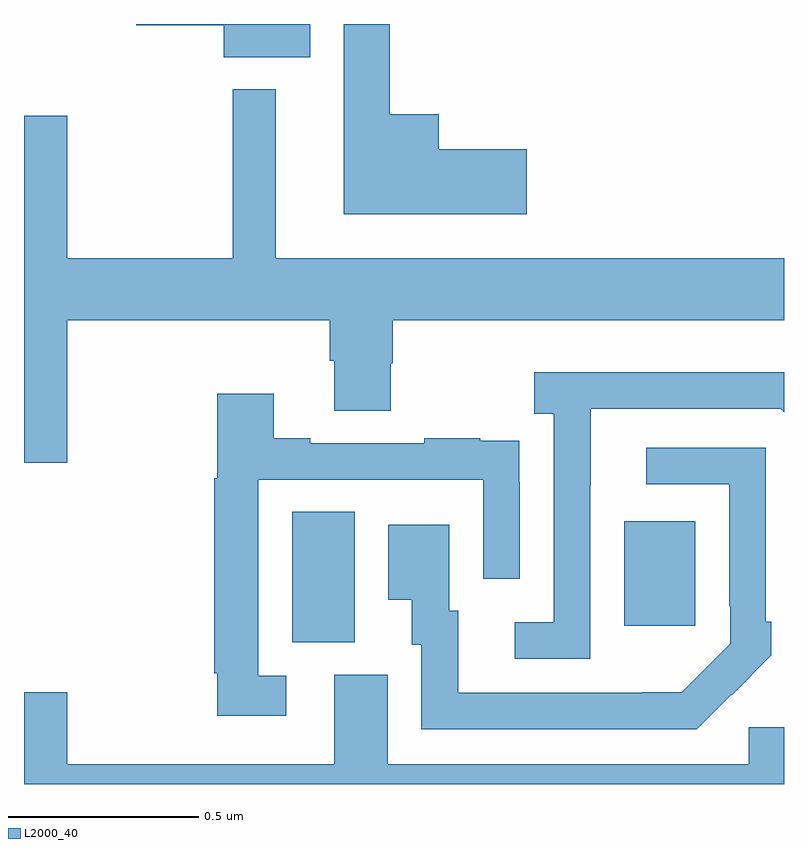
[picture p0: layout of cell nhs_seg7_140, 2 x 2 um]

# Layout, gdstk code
import gdstk
lib = gdstk.Library(unit=1e-6, precision=1e-09)
def R(c, l, rs):  # rectangles x0, y0, x1, y1
    for r in rs: c.add(gdstk.rectangle(r[:2], r[2:], *l))
def P(c, l, *ps):  # polygons
    for p in ps: c.add(gdstk.Polygon(p, *l))
L2000_40 = (2000, 40)

nhs_seg7_140 = lib.new_cell('nhs_seg7_140')
R(nhs_seg7_140, L2000_40, [(112.706,1062.373,112.87,1062.716), (113.579,1062.417,113.767,1062.691)])
P(nhs_seg7_140, L2000_40, [(113.323,1063.67),(113.092,1063.67),(113.092,1063.762),(112.963,1063.762),(112.963,1064),(112.841,1064),(112.841,1063.499),(113.323,1063.499)],
  [(112.753,1064),(112.296,1064),(112.296,1063.997),(112.526,1063.997),(112.526,1063.913),(112.753,1063.913)],
  [(112.114,1063.22),(112.805,1063.22),(112.805,1063.114),(112.817,1063.114),(112.817,1062.982),(112.965,1062.982),(112.965,1063.107),(112.97,1063.107),(112.97,1063.22),(114,1063.22),(114,1063.384),(112.663,1063.384),(112.663,1063.828),(112.549,1063.828),(112.549,1063.384),(112.114,1063.384),(112.114,1063.759),(112,1063.759),(112,1062.846),(112.114,1062.846)],
  [(113.49,1062.787),(113.491,1062.787),(113.491,1062.987),(113.991,1062.987),(114,1062.978),(114,1063.084),(113.343,1063.084),(113.343,1062.974),(113.394,1062.974),(113.394,1062.426),(113.292,1062.426),(113.292,1062.33),(113.49,1062.33)],
  [(112.69,1062.285),(112.617,1062.285),(112.617,1062.801),(113.208,1062.801),(113.208,1062.54),(113.304,1062.54),(113.304,1062.794),(113.303,1062.794),(113.303,1062.903),(113.201,1062.903),(113.201,1062.91),(113.053,1062.91),(113.053,1062.897),(112.753,1062.897),(112.753,1062.91),(112.657,1062.91),(112.657,1063.027),(112.509,1063.027),(112.509,1062.804),(112.501,1062.804),(112.501,1062.292),(112.509,1062.292),(112.509,1062.18),(112.69,1062.18)],
  [(113.861,1062.235),(113.862,1062.234),(113.967,1062.339),(113.967,1062.427),(113.952,1062.427),(113.952,1062.885),(113.637,1062.885),(113.637,1062.789),(113.856,1062.789),(113.856,1062.469),(113.859,1062.469),(113.859,1062.369),(113.731,1062.241),(113.627,1062.241),(113.627,1062.24),(113.143,1062.24),(113.143,1062.456),(113.119,1062.456),(113.119,1062.682),(112.958,1062.682),(112.958,1062.485),(113.021,1062.485),(113.021,1062.366),(113.046,1062.366),(113.046,1062.144),(113.77,1062.144)],
  [(114,1062.15),(113.907,1062.15),(113.907,1062.052),(112.957,1062.052),(112.957,1062.288),(112.817,1062.288),(112.817,1062.052),(112.114,1062.052),(112.114,1062.241),(112,1062.241),(112,1062),(114,1062)])

lib.write_gds('nhs_seg7_140.gds')
